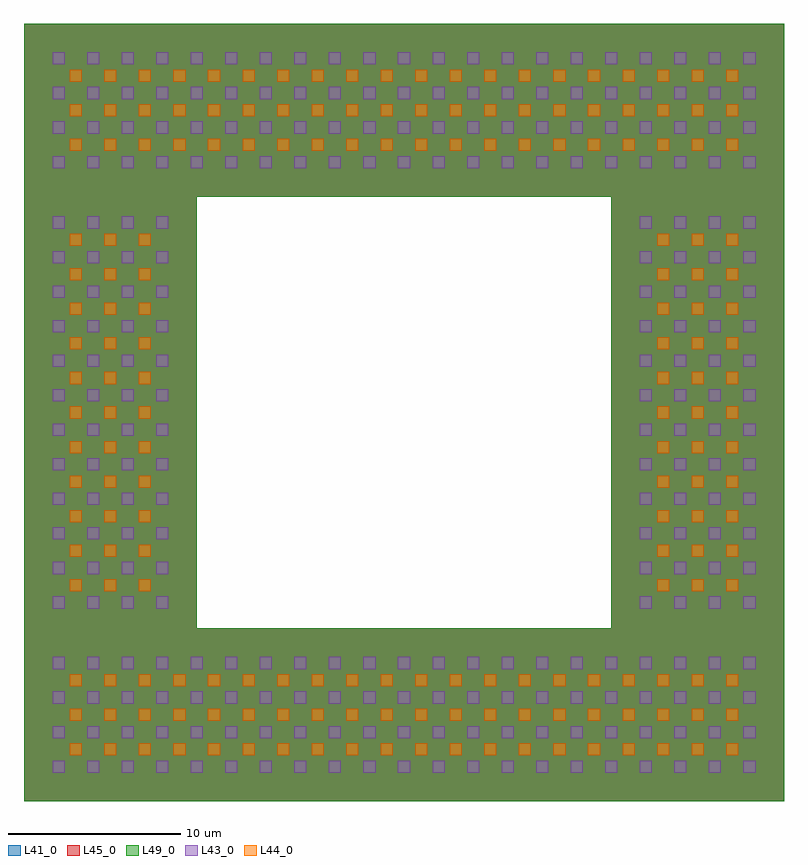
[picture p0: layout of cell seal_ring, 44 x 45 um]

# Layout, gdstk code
import gdstk
lib = gdstk.Library(unit=1e-6, precision=1e-09)
def R(c, l, rs):  # rectangles x0, y0, x1, y1
    for r in rs: c.add(gdstk.rectangle(r[:2], r[2:], *l))
L41_0 = (41, 0)
L43_0 = (43, 0)
L44_0 = (44, 0)
L45_0 = (45, 0)
L49_0 = (49, 0)

compass_layerm1_size44p0 = lib.new_cell('compass_layerM1_size44p0__10p0')
R(compass_layerm1_size44p0, L41_0, [(-22,-5,22,5)])

compass_layerm2_size44p0 = lib.new_cell('compass_layerM2_size44p0__10p0')
R(compass_layerm2_size44p0, L45_0, [(-22,-5,22,5)])

compass_119cd4b4 = lib.new_cell('compass_119cd4b4')
R(compass_119cd4b4, L49_0, [(-22,-5,22,5)])

via_enclosure2_layervia1 = lib.new_cell('via_enclosure2_layerVIA1')
R(via_enclosure2_layervia1, L44_0, [(-0.35,-0.35,0.35,0.35)])

via_layervia2 = lib.new_cell('via_layerVIA2')
R(via_layervia2, L43_0, [(-0.35,-0.35,0.35,0.35)])

via_stack_size44p0__10 = lib.new_cell('via_stack_size44p0__10')
via_stack_size44p0__10.add(gdstk.Reference(compass_layerm1_size44p0, (0,0)))
via_stack_size44p0__10.add(gdstk.Reference(compass_layerm2_size44p0, (0,0)))
via_stack_size44p0__10.add(gdstk.Reference(compass_119cd4b4, (0,0)))
r = gdstk.Reference(via_enclosure2_layervia1, (-19,-2)); r.repetition = gdstk.Repetition(20, 3, v1=(2,0), v2=(0,2)); via_stack_size44p0__10.add(r)
r = gdstk.Reference(via_layervia2, (-20,-3)); r.repetition = gdstk.Repetition(21, 4, v1=(2,0), v2=(0,2)); via_stack_size44p0__10.add(r)

compass_layerm1_size10p0 = lib.new_cell('compass_layerM1_size10p0__25p0')
R(compass_layerm1_size10p0, L41_0, [(-5,-12.5,5,12.5)])

compass_layerm2_size10p0 = lib.new_cell('compass_layerM2_size10p0__25p0')
R(compass_layerm2_size10p0, L45_0, [(-5,-12.5,5,12.5)])

compass_a88734e7 = lib.new_cell('compass_a88734e7')
R(compass_a88734e7, L49_0, [(-5,-12.5,5,12.5)])

via_stack_size10__25p0 = lib.new_cell('via_stack_size10__25p0')
via_stack_size10__25p0.add(gdstk.Reference(compass_layerm1_size10p0, (0,0)))
via_stack_size10__25p0.add(gdstk.Reference(compass_layerm2_size10p0, (0,0)))
via_stack_size10__25p0.add(gdstk.Reference(compass_a88734e7, (0,0)))
r = gdstk.Reference(via_enclosure2_layervia1, (-2,-10)); r.repetition = gdstk.Repetition(3, 11, v1=(2,0), v2=(0,2)); via_stack_size10__25p0.add(r)
r = gdstk.Reference(via_layervia2, (-3,-11)); r.repetition = gdstk.Repetition(4, 12, v1=(2,0), v2=(0,2)); via_stack_size10__25p0.add(r)

seal_ring = lib.new_cell('seal_ring')
seal_ring.add(gdstk.Reference(via_stack_size44p0__10, (1,19)))
seal_ring.add(gdstk.Reference(via_stack_size10__25p0, (18,1.5)))
seal_ring.add(gdstk.Reference(via_stack_size10__25p0, (-16,1.5)))
seal_ring.add(gdstk.Reference(via_stack_size44p0__10, (1,-16)))

lib.write_gds('seal_ring.gds')
